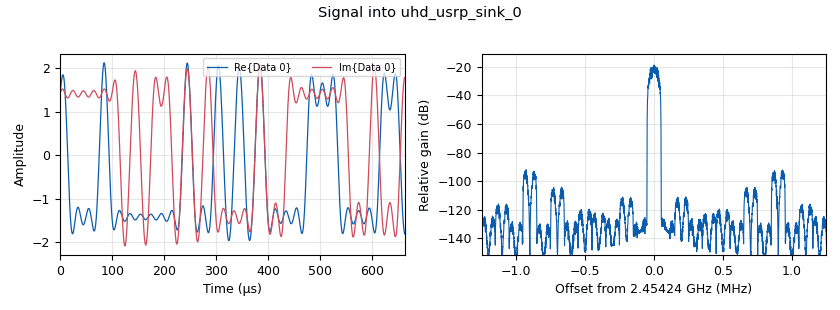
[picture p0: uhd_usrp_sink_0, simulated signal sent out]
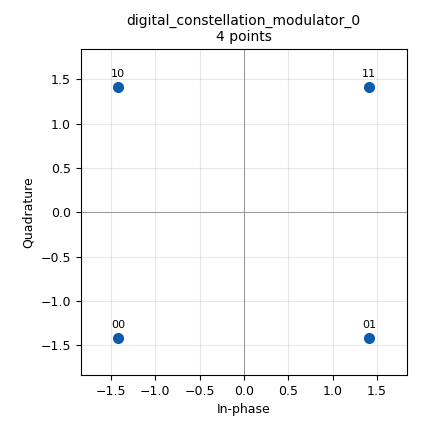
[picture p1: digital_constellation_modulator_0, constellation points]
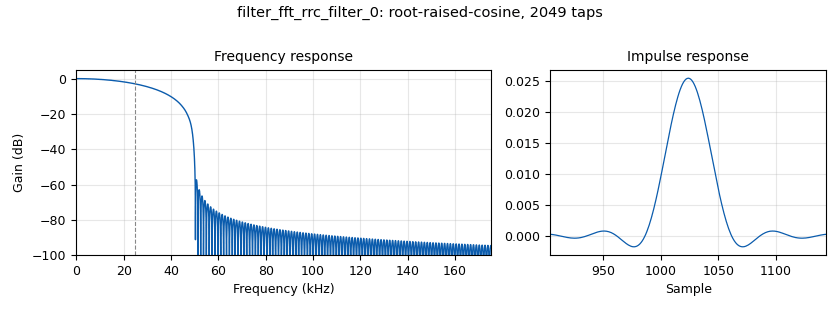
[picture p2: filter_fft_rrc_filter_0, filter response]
options:
  parameters:
    author: Edson P. da Silva
    generate_options: qt_gui
    id: testModUSRP
    output_language: python
    title: Intesymbol Interference
  states: {}

blocks:
- name: AdaptiveEqualizer
  id: variable_adaptive_algorithm
  parameters:
    cons: Constellation
    modulus: '4'
    step_size: '0.0001'
    type: lms
  states: {}
- name: Constellation
  id: variable_constellation
  parameters:
    precision: '8'
    type: qpsk
  states: {}
- name: SamplesPerSymbol
  id: variable
  parameters:
    value: '50'
  states: {}
- name: delay
  id: variable_qtgui_range
  parameters:
    label: Sampling delay
    outputmsgname: value
    rangeType: int
    showports: 'False'
    start: '0'
    step: '1'
    stop: '32'
    value: '0'
  states: {}
- name: fc
  id: variable_qtgui_range
  parameters:
    outputmsgname: value
    showports: 'False'
    start: 2e9
    step: '10000'
    stop: 3e9
    value: '2454237000'
  states: {}
- name: numTaps
  id: variable
  parameters:
    value: '25'
  states: {}
- name: rolloff
  id: variable
  parameters:
    value: '1'
  states: {}
- name: samp_rate
  id: variable
  parameters:
    value: 2.5e6
  states: {}
- name: analog_agc_xx_0
  id: analog_agc_xx
  parameters:
    gain: '1.0'
    max_gain: '65536'
    rate: '1e-3'
    reference: '1.0'
    type: complex
  states: {}
- name: analog_agc_xx_0_0
  id: analog_agc_xx
  parameters:
    gain: '1.0'
    max_gain: '65536'
    rate: '1e-3'
    reference: '1.0'
    type: complex
  states: {}
- name: analog_random_source_x_0
  id: analog_random_source_x
  parameters:
    max: '256'
    min: '0'
    num_samps: '20000'
    repeat: 'True'
    type: byte
  states: {}
- name: blocks_delay_0
  id: blocks_delay
  parameters:
    delay: delay
    type: complex
  states: {}
- name: blocks_vector_to_stream_0
  id: blocks_vector_to_stream
  parameters:
    num_items: numTaps
    type: complex
  states: {}
- name: digital_constellation_modulator_0
  id: digital_constellation_modulator
  parameters:
    constellation: Constellation
    differential: 'False'
    excess_bw: rolloff
    samples_per_symbol: SamplesPerSymbol
  states: {}
- name: digital_linear_equalizer_0
  id: digital_linear_equalizer
  parameters:
    alg: AdaptiveEqualizer
    num_taps: numTaps
    sps: '2'
  states: {}
- name: digital_symbol_sync_xx_0
  id: digital_symbol_sync_xx
  parameters:
    damping: '1.25'
    loop_bw: '0.2'
    max_dev: '1.5'
    osps: '2'
    resamp_type: digital.IR_MMSE_8TAP
    sps: '2'
    ted_gain: '1.0'
    ted_type: digital.TED_GARDNER
    type: cc
  states: {}
- name: filter_fft_rrc_filter_0
  id: filter_fft_rrc_filter
  parameters:
    alpha: rolloff
    decim: SamplesPerSymbol//2
    gain: '1'
    ntaps: '2048'
    samp_rate: samp_rate
    sym_rate: samp_rate//SamplesPerSymbol
    type: ccc
  states: {}
- name: filter_fft_rrc_filter_0_0
  id: filter_fft_rrc_filter
  parameters:
    alpha: rolloff
    decim: '1'
    gain: '1'
    ntaps: '2048'
    samp_rate: samp_rate
    sym_rate: samp_rate//SamplesPerSymbol
    type: ccc
  states: {}
- name: fir_filter_xxx_0
  id: fir_filter_xxx
  parameters:
    decim: '2'
    taps: '[0,0,0,1,0,0,0]'
    type: ccc
  states: {}
- name: qtgui_const_sink_x_0
  id: qtgui_const_sink_x
  parameters:
    gui_hint: 2,3,2,3
    label1: Received constellation
    label2: After linear equalization
    nconnections: '2'
    size: '1024'
    type: complex
    xmax: '2.5'
    xmin: '-2.5'
    ymax: '2.5'
    ymin: '-2.5'
  states: {}
- name: qtgui_eye_sink_x_0
  id: qtgui_eye_sink_x
  parameters:
    autoscale: 'True'
    entags: 'False'
    gui_hint: 0,3,2,3
    label1: I(t)
    label2: Q(t)
    samp_per_symbol: SamplesPerSymbol
    size: 1024*16
    srate: samp_rate
    style1: '3'
    type: complex
    ymax: '2'
    ymin: '-2'
  states: {}
- name: qtgui_freq_sink_x_1
  id: qtgui_freq_sink_x
  parameters:
    average: '0.2'
    bw: samp_rate/2
    color2: '"black"'
    fc: '0'
    fftsize: '1024'
    gui_hint: 0,0,2,3
    label1: Tx signal
    label2: Tx signal + channel response
    nconnections: '2'
    type: complex
    width1: '2'
    width2: '2'
    wintype: window.WIN_HANN
  states: {}
- name: qtgui_time_sink_x_0
  id: qtgui_time_sink_x
  parameters:
    size: '1024'
    srate: samp_rate
    type: float
  states: {}
- name: qtgui_time_sink_x_1
  id: qtgui_time_sink_x
  parameters:
    autoscale: 'True'
    gui_hint: 2,0,2,3
    label1: Real
    label2: Imag
    marker1: '0'
    marker2: '1'
    name: Equalizer taps
    size: numTaps
    srate: samp_rate/SamplesPerSymbol
    stemplot: 'True'
    type: complex
    ylabel: FIR taps
  states: {}
- name: uhd_usrp_sink_0
  id: uhd_usrp_sink
  parameters:
    ant0: '"TX/RX"'
    center_freq0: fc
    dev_addr: '"addr=192.168.10.2"'
    gain0: '0'
    samp_rate: samp_rate
    sync: pc_clock
    type: fc32
  states: {}
- name: uhd_usrp_source_0
  id: uhd_usrp_source
  parameters:
    ant0: '"RX2"'
    center_freq0: fc
    dc_offs_enb0: auto
    dev_addr: '"addr=192.168.10.2"'
    gain0: '0'
    iq_imbal_enb0: auto
    rx_agc0: Disabled
    samp_rate: samp_rate
    sync: pc_clock
    type: fc32
  states: {}

connections:
- [analog_agc_xx_0, '0', digital_symbol_sync_xx_0, '0']
- [analog_agc_xx_0_0, '0', qtgui_const_sink_x_0, '1']
- [analog_random_source_x_0, '0', digital_constellation_modulator_0, '0']
- [blocks_delay_0, '0', digital_linear_equalizer_0, '0']
- [blocks_vector_to_stream_0, '0', qtgui_time_sink_x_1, '0']
- [digital_constellation_modulator_0, '0', qtgui_freq_sink_x_1, '0']
- [digital_constellation_modulator_0, '0', uhd_usrp_sink_0, '0']
- [digital_linear_equalizer_0, '0', analog_agc_xx_0_0, '0']
- [digital_linear_equalizer_0, '1', blocks_vector_to_stream_0, '0']
- [digital_symbol_sync_xx_0, '0', blocks_delay_0, '0']
- [digital_symbol_sync_xx_0, '0', fir_filter_xxx_0, '0']
- [digital_symbol_sync_xx_0, '1', qtgui_time_sink_x_0, '0']
- [filter_fft_rrc_filter_0, '0', analog_agc_xx_0, '0']
- [filter_fft_rrc_filter_0_0, '0', qtgui_eye_sink_x_0, '0']
- [fir_filter_xxx_0, '0', qtgui_const_sink_x_0, '0']
- [uhd_usrp_source_0, '0', filter_fft_rrc_filter_0, '0']
- [uhd_usrp_source_0, '0', filter_fft_rrc_filter_0_0, '0']
- [uhd_usrp_source_0, '0', qtgui_freq_sink_x_1, '1']

metadata:
  file_format: 1
  grc_version: 3.10.4.0
